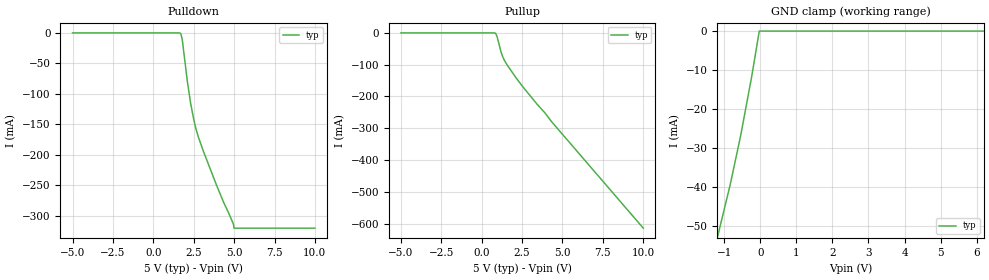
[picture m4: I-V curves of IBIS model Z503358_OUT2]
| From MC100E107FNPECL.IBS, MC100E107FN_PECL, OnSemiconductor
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| (C) COPYRIGHT 1993-2000
| MENTOR GRAPHICS CORPORATION
| ICX STANDARD LIBRARY, ICX PROJECT MODELING,
| ICX CUSTOM MODELING, ICX VENDOR MODEL
| ALL RIGHTS RESERVED.
| THE FOLLOWING ARE TRADEMARKS OR SERVICE MARKS OF
| MENTOR GRAPHICS CORPORATION:ICX (R), ICX STANDARD
| LIBRARY(R), ICX PROJECT MODELING(R), ICX CUSTOM
| MODELING(R), qualityIBIS(TM), MODELVIEWER(TM),
| AND MODELEDITOR(TM)
| ALL COPIES OF SOFTWARE, INCLUDING BUT NOT LIMITED TO
| ANY MODIFICATIONS, ENHANCEMENTS OR DERIVATIVE WORKS,
| MUST CONTAIN ALL MENTOR GRAPHICS CORPORATION'S
| NOTICES AND LEGENDS, INCLUDING THOSE EMBEDDED IN
| SOFTWARE AND THOSE AFFIXED TO SOFTWARE MEDIUM
| AND CONTAINER, AS RECEIVED FROM MENTOR GRAPHICS
| CORPORATION.
| Model Application Version 1.89 2/18/99.
[Model] Z503358_OUT2
Model_type Output_ECL
Vref=3.000V
Rref=50.00ohms
Cref=0.000F
Vmeas=3.677V
C_comp 8.000pF NA NA
| variable typ   min   max
[Voltage Range] 5.000V NA NA
[POWER Clamp Reference] 5.000V NA NA
[Pullup Reference] 5.000V NA NA
[Pulldown Reference] 5.000V NA NA
[GND Clamp Reference] 0.000V NA NA
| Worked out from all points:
|   GND clamp passes 1 mA (typ) near -0.05 V on its own axis
[GND Clamp]
-5V       -197.8mA   NA         NA
-835mV    -39.2mA    NA         NA
-551mV    -26.9mA    NA         NA
-247mV    -11.9mA    NA         NA
-64mV     -1.8mA     NA         NA
-32mV     0A         NA         NA
10V       0A         NA         NA
[Pulldown]
-5V       0A         NA         NA
1.674V    -700uA     NA         NA
1.796V    -12.2mA    NA         NA
2.1V      -78.5mA    NA         NA
2.303V    -114.8mA   NA         NA
2.628V    -156.5mA   NA         NA
3.115V    -195.5mA   NA         NA
4.352V    -278.3mA   NA         NA
4.921V    -311.6mA   NA         NA
4.961V    -314.4mA   NA         NA
4.992V    -320.6mA   NA         NA
10V       -320.6mA   NA         NA
[Pullup]
-5V       0A         NA         NA
746mV     0A         NA         NA
868mV     -2.1mA     NA         NA
949mV     -11.4mA    NA         NA
1.192V    -59mA      NA         NA
1.273V    -71.5mA    NA         NA
1.395V    -85.6mA    NA         NA
2.126V    -141.3mA   NA         NA
2.531V    -168.6mA   NA         NA
3.932V    -252.8mA   NA         NA
4.317V    -278.7mA   NA         NA
10V       -614.1mA   NA         NA
[POWER Clamp]
-5V       0A         NA         NA
10V       0A         NA         NA
[Ramp]
| variable typ min max
dV/dt_r 497.4m/528.3p NA NA
dV/dt_f 497.4m/331.1p NA NA
R_load = 500.0Ohms
